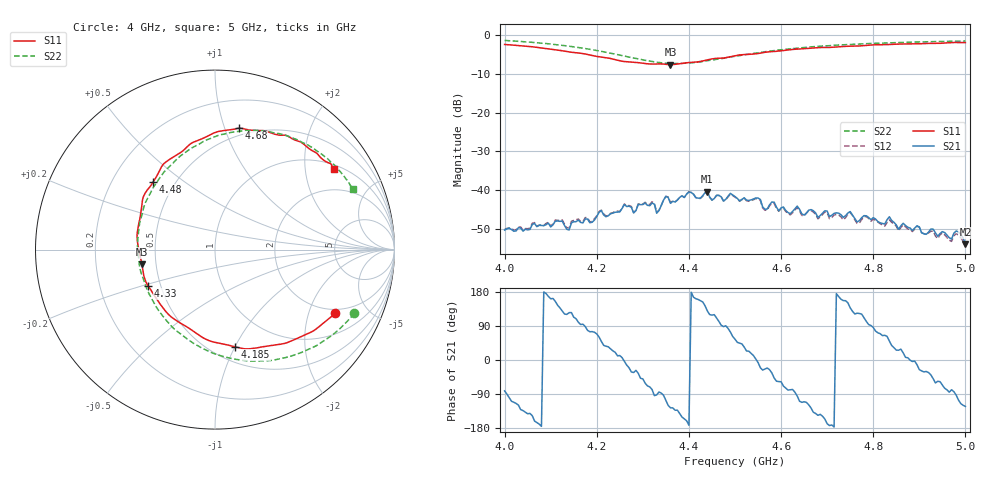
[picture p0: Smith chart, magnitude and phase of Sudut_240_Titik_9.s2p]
# Hz S RI R 50
! CMT, C1220, 16058040, 17.2.0/1
! Date: 15/08/2018 11:35:13
! Data: Format (Calibration Info)
! Freq  S11: Re/Im (F2)  S21: Re/Im (F2)  S12: Re/Im (F2)  S22: Re/Im (F2)
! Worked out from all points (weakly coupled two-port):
!   201 points, 4 GHz to 5 GHz, reference 50 ohm
!   highest |S21| = -40.40 dB at 4.44 GHz (marker M1); lowest = -54.0 dB at 5 GHz (marker M2)
!   lowest |S11| = -7.6 dB at 4.36 GHz (marker M3), VSWR 2.42, Z = 20.8 - j4.13 ohm
!   |S11| at or under -10 dB: nowhere
!   |S22| runs from -7.4 to -1.4 dB; largest |S21 - S12| = 0.00038
!   S11 on the Smith chart (normalised r, x): 4 GHz: 1.81, -3.00; 4.185 GHz: 0.64, -1.00; 4.33 GHz: 0.43, -0.21; 4.48 GHz: 0.38, +0.39; 4.68 GHz: 0.43, +1.12; 5 GHz: 1.14, +2.84
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4e9  0.6673 -0.3556  0.000444 -0.003  0.000534 -0.00304  0.7753 -0.3541
4.17e9  0.1663 -0.5528  -0.000289 0.00375  -0.000371 0.00387  0.2742 -0.6196
4.185e9  0.1133 -0.5425  0.001 0.00363  0.00101 0.00371  0.2104 -0.6216
4.26e9  -0.1719 -0.4215  0.00648 -0.000385  0.00658 -0.000419  -0.1173 -0.5234
4.28e9  -0.246 -0.3734  0.00424 -0.00276  0.00424 -0.00279  -0.1976 -0.4654
4.32e9  -0.3501 -0.2367  0.00141 -0.00663  0.00139 -0.0069  -0.3315 -0.312
4.33e9  -0.3723 -0.2025  -0.000182 -0.005  -0.000307 -0.00515  -0.3554 -0.2697
4.335e9  -0.3828 -0.1846  0.000527 -0.00539  0.000346 -0.00547  -0.3676 -0.2463
4.35e9  -0.4002 -0.1252  -0.00232 -0.00789  -0.00241 -0.00794  -0.3962 -0.1722
4.36e9  -0.4066 -0.0821  -0.00396 -0.00542  -0.00418 -0.00548  -0.413 -0.1255
4.44e9  -0.4069 0.2511  -0.00608 0.00736  -0.00593 0.0073  -0.3876 0.2616
4.48e9  -0.3443 0.3773  -3.42e-05 0.00758  0.000152 0.00747  -0.3002 0.4105
4.5e9  -0.3049 0.4472  0.00472 0.00672  0.00471 0.00657  -0.2454 0.4709
4.565e9  -0.1467 0.581  0.00515 -0.00228  0.00496 -0.00229  -0.0555 0.6071
4.67e9  0.1118 0.6716  -0.004 -0.00362  -0.00391 -0.00342  0.2476 0.6635
4.68e9  0.1312 0.6762  -0.00367 -0.00248  -0.00355 -0.00231  0.272 0.6603
4.835e9  0.4438 0.6111  0.0029 0.00345  0.00263 0.00318  0.582 0.5399
4.855e9  0.4759 0.6003  0.00279 0.00135  0.00265 0.00135  0.6121 0.5176
4.895e9  0.5336 0.5561  0.00337 -0.000744  0.00334 -0.000607  0.6643 0.4719
4.97e9  0.6392 0.4815  0.000465 -0.00227  0.000419 -0.00213  0.7425 0.3784
4.98e9  0.6462 0.4764  -0.000133 -0.00295  -8.89e-05 -0.00271  0.7501 0.364
5e9  0.6612 0.4486  -0.00107 -0.00168  -0.000927 -0.00163  0.7681 0.3374
